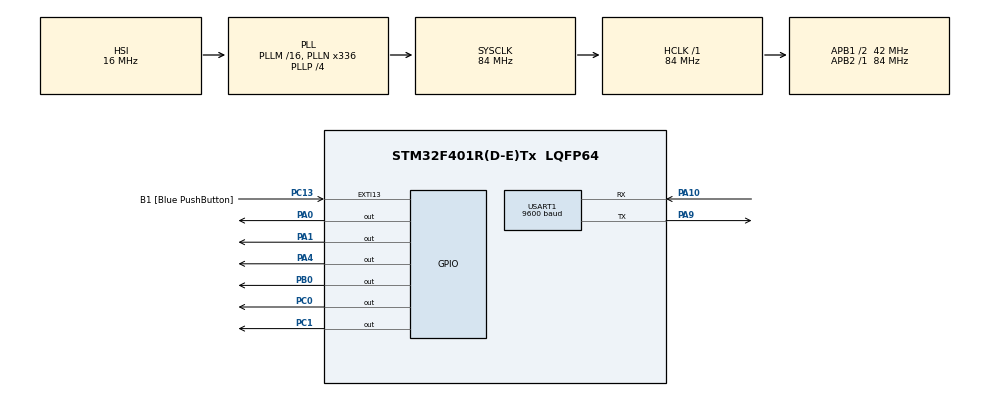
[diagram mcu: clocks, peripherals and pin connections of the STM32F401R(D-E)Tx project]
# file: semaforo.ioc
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Mcu.Family=STM32F4
Mcu.Name=STM32F401R(D-E)Tx
Mcu.Package=LQFP64
NVIC.EXTI15_10_IRQn=true\:0\:1\:false\:false\:true\:true\:true\:true
NVIC.PriorityGroup=NVIC_PRIORITYGROUP_0
NVIC.TIM1_TRG_COM_TIM11_IRQn=true\:0\:1\:false\:false\:true\:true\:true\:true
NVIC.TIM1_UP_TIM10_IRQn=true\:0\:1\:false\:false\:true\:true\:true\:true
NVIC.USART1_IRQn=true\:0\:0\:false\:false\:true\:true\:true\:true
PA0-WKUP.Signal=GPIO_Output
PA1.Signal=GPIO_Output
PA10.Mode=Asynchronous
PA10.Signal=USART1_RX
PA13.GPIO_Label=TMS
PA13.Mode=Serial_Wire
PA13.Signal=SYS_JTMS-SWDIO
PA14.GPIO_Label=TCK
PA14.Mode=Serial_Wire
PA14.Signal=SYS_JTCK-SWCLK
PA4.Signal=GPIO_Output
PA9.Mode=Asynchronous
PA9.Signal=USART1_TX
PB0.Signal=GPIO_Output
PB3.GPIO_Label=SWO
PB3.Signal=SYS_JTDO-SWO
PC0.Signal=GPIO_Output
PC1.Signal=GPIO_Output
PC13-ANTI_TAMP.GPIO_Label=B1 [Blue PushButton]
PC13-ANTI_TAMP.GPIO_ModeDefaultEXTI=GPIO_MODE_IT_FALLING
PC13-ANTI_TAMP.GPIO_PuPd=GPIO_NOPULL
PC13-ANTI_TAMP.Signal=GPXTI13
PC14-OSC32_IN.Mode=LSE-External-Oscillator
PC14-OSC32_IN.Signal=RCC_OSC32_IN
PC15-OSC32_OUT.Mode=LSE-External-Oscillator
PC15-OSC32_OUT.Signal=RCC_OSC32_OUT
PH0\ -\ OSC_IN.Mode=HSE-External-Clock-Source
PH0\ -\ OSC_IN.Signal=RCC_OSC_IN
PH1\ -\ OSC_OUT.Mode=HSE-External-Clock-Source
PH1\ -\ OSC_OUT.Signal=RCC_OSC_OUT
ProjectManager.HeapSize=0x200
ProjectManager.StackSize=0x400
ProjectManager.TargetToolchain=STM32CubeIDE
RCC.48MHZClocksFreq_Value=48000000
RCC.AHBFreq_Value=84000000
RCC.APB1CLKDivider=RCC_HCLK_DIV2
RCC.APB1Freq_Value=42000000
RCC.APB1TimFreq_Value=84000000
RCC.APB2Freq_Value=84000000
RCC.APB2TimFreq_Value=84000000
RCC.CortexFreq_Value=84000000
RCC.HCLKFreq_Value=84000000
RCC.HSE_VALUE=8000000
RCC.HSI_VALUE=16000000
RCC.PLLN=336
RCC.PLLP=RCC_PLLP_DIV4
RCC.PLLQ=7
RCC.SYSCLKFreq_VALUE=84000000
RCC.SYSCLKSource=RCC_SYSCLKSOURCE_PLLCLK
RCC.VCOOutputFreq_Value=336000000
TIM10.Period=42000
TIM10.Prescaler=19999
TIM11.Period=42000
TIM11.Prescaler=999
USART1.BaudRate=9600
USART1.Parity=PARITY_EVEN
USART1.VirtualMode=VM_ASYNC
USART1.WordLength=WORDLENGTH_9B
VP_TIM10_VS_ClockSourceINT.Mode=Enable_Timer
VP_TIM11_VS_ClockSourceINT.Mode=Enable_Timer
board=NUCLEO-F401RE

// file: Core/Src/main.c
/* USER CODE BEGIN Header */
/**
  ******************************************************************************
  * @file           : main.c
  * @brief          : Main program body
  ******************************************************************************
  * @attention
  *
  * Copyright (c) 2023 STMicroelectronics.
  * All rights reserved.
  *
  * This software is licensed under terms that can be found in the LICENSE file
  * in the root directory of this software component.
  * If no LICENSE file comes with this software, it is provided AS-IS.
  *
  ******************************************************************************
  */
/* USER CODE END Header */
#include "main.h"

 TIM_HandleTypeDef htim10;
TIM_HandleTypeDef htim11;

UART_HandleTypeDef huart1;

/* USER CODE BEGIN PV */
int prima_interrupt = 1; // variabile usata per indicare se siamo alla prima interruzione del timer watchdog

char richiesta = 'P'; // 'P' indica "prenotazione"

char controllo; // messaggio inviato dal giudice che indica i led da accendere
/* MESSAGGI DI CONTROLLO:
 * dritto_verde, svolta_verde, pedone_rosso: "A"
 * dritto_giallo, svolta_giallo, pedone_rosso: "B"
 * dritto_rosso, svolta_rosso, pedone_rosso: "C"
 * dritto_rosso, svolta_rosso, pedone_verde: "D"
 * dritto_rosso, svolta_rosso, pedone_giallo: "E"
 * dritto_verde, svolta_rosso, pedone_rosso: "F"
 * dritto_giallo, svolta_rosso, pedone_rosso: "G"
 */

/* USER CODE END PV */

void SystemClock_Config(void);
static void MX_GPIO_Init(void);
static void MX_TIM10_Init(void);
static void MX_TIM11_Init(void);
static void MX_USART1_UART_Init(void);

/* USER CODE BEGIN 0 */
void HAL_TIM_PeriodElapsedCallback(TIM_HandleTypeDef *htim)
{
  /* Prevent unused argument(s) compilation warning */
  UNUSED(htim);

  if(prima_interrupt){
	  prima_interrupt = 0;
  }
  else if (htim == &htim10){
	  HAL_TIM_Base_Stop_IT(htim); // arresto timer watchdog

	  // Spegnimento del led giallo del semaforo dritto
	  HAL_GPIO_WritePin(GPIOA, GPIO_PIN_0, GPIO_PIN_RESET);
	  HAL_GPIO_WritePin(GPIOA, GPIO_PIN_1, GPIO_PIN_RESET);

	  // Spegnimento del led giallo del semaforo svolta
	  HAL_GPIO_WritePin(GPIOA, GPIO_PIN_4, GPIO_PIN_RESET);
	  HAL_GPIO_WritePin(GPIOB, GPIO_PIN_0, GPIO_PIN_RESET);

	  // Spegnimento del led giallo del semaforo pedone
	  HAL_GPIO_WritePin(GPIOC, GPIO_PIN_1, GPIO_PIN_RESET);
	  HAL_GPIO_WritePin(GPIOC, GPIO_PIN_0, GPIO_PIN_RESET);

	  HAL_TIM_Base_Start_IT(&htim11); // avvio timer blinking
  }
  else if (htim == &htim11){
	  // Toggle del led giallo del semafaro dritto
	  HAL_GPIO_TogglePin(GPIOA, GPIO_PIN_0);
	  HAL_GPIO_TogglePin(GPIOA, GPIO_PIN_1);

	  // Toggle del led giallo del semafaro svolta
	  HAL_GPIO_TogglePin(GPIOA, GPIO_PIN_4);
	  HAL_GPIO_TogglePin(GPIOB, GPIO_PIN_0);

	  // Toggle del led giallo del semafaro pedone
	  HAL_GPIO_TogglePin(GPIOC, GPIO_PIN_1);
	  HAL_GPIO_TogglePin(GPIOC, GPIO_PIN_0);
  }
}

void HAL_GPIO_EXTI_Callback(uint16_t GPIO_Pin)
{
  /* Prevent unused argument(s) compilation warning */
  UNUSED(GPIO_Pin);

  HAL_UART_Transmit_IT(&huart1, &richiesta, 1); // trasmettiamo la richiesta di prenotazione
}

void HAL_UART_RxCpltCallback(UART_HandleTypeDef *huart)
{
  HAL_TIM_Base_Stop(&htim11); // arresto timer blinking
  HAL_TIM_Base_Stop(&htim10); // arresto temporaneamente il timer watchdog
  htim10.Instance->CNT=0; // azzero il counter del timer watchdog

  // Spegnimento temporaneo di tutti i led
  HAL_GPIO_WritePin(GPIOA, GPIO_PIN_0, GPIO_PIN_RESET);
  HAL_GPIO_WritePin(GPIOA, GPIO_PIN_1, GPIO_PIN_RESET);

  HAL_GPIO_WritePin(GPIOA, GPIO_PIN_4, GPIO_PIN_RESET);
  HAL_GPIO_WritePin(GPIOB, GPIO_PIN_0, GPIO_PIN_RESET);

  HAL_GPIO_WritePin(GPIOC, GPIO_PIN_1, GPIO_PIN_RESET);
  HAL_GPIO_WritePin(GPIOC, GPIO_PIN_0, GPIO_PIN_RESET);

  switch (controllo){
  case 'A':
	  HAL_GPIO_WritePin(GPIOA, GPIO_PIN_0, GPIO_PIN_RESET);
	  HAL_GPIO_WritePin(GPIOA, GPIO_PIN_1, GPIO_PIN_SET);

	  HAL_GPIO_WritePin(GPIOA, GPIO_PIN_4, GPIO_PIN_RESET);
	  HAL_GPIO_WritePin(GPIOB, GPIO_PIN_0, GPIO_PIN_SET);

	  HAL_GPIO_WritePin(GPIOC, GPIO_PIN_1, GPIO_PIN_SET);
	  HAL_GPIO_WritePin(GPIOC, GPIO_PIN_0, GPIO_PIN_RESET);

	  HAL_TIM_Base_Start_IT(&htim10); // avvio timer watchdog
	  break;

  case 'B':
  	  HAL_GPIO_WritePin(GPIOA, GPIO_PIN_0, GPIO_PIN_SET);
  	  HAL_GPIO_WritePin(GPIOA, GPIO_PIN_1, GPIO_PIN_SET);

  	  HAL_GPIO_WritePin(GPIOA, GPIO_PIN_4, GPIO_PIN_SET);
  	  HAL_GPIO_WritePin(GPIOB, GPIO_PIN_0, GPIO_PIN_SET);

  	  HAL_GPIO_WritePin(GPIOC, GPIO_PIN_1, GPIO_PIN_SET);
  	  HAL_GPIO_WritePin(GPIOC, GPIO_PIN_0, GPIO_PIN_RESET);

  	  HAL_TIM_Base_Start_IT(&htim10); // avvio timer watchdog
  	  break;

  case 'C':
  	  HAL_GPIO_WritePin(GPIOA, GPIO_PIN_0, GPIO_PIN_SET);
  	  HAL_GPIO_WritePin(GPIOA, GPIO_PIN_1, GPIO_PIN_RESET);

  	  HAL_GPIO_WritePin(GPIOA, GPIO_PIN_4, GPIO_PIN_SET);
  	  HAL_GPIO_WritePin(GPIOB, GPIO_PIN_0, GPIO_PIN_RESET);

  	  HAL_GPIO_WritePin(GPIOC, GPIO_PIN_1, GPIO_PIN_SET);
  	  HAL_GPIO_WritePin(GPIOC, GPIO_PIN_0, GPIO_PIN_RESET);

  	  HAL_TIM_Base_Start_IT(&htim10); // avvio timer watchdog
  	  break;

  case 'D':
  	  HAL_GPIO_WritePin(GPIOA, GPIO_PIN_0, GPIO_PIN_SET);
  	  HAL_GPIO_WritePin(GPIOA, GPIO_PIN_1, GPIO_PIN_RESET);

  	  HAL_GPIO_WritePin(GPIOA, GPIO_PIN_4, GPIO_PIN_SET);
  	  HAL_GPIO_WritePin(GPIOB, GPIO_PIN_0, GPIO_PIN_RESET);

  	  HAL_GPIO_WritePin(GPIOC, GPIO_PIN_1, GPIO_PIN_RESET);
  	  HAL_GPIO_WritePin(GPIOC, GPIO_PIN_0, GPIO_PIN_SET);

  	  HAL_TIM_Base_Start_IT(&htim10); // avvio timer watchdog
  	  break;

  case 'E':
	  HAL_GPIO_WritePin(GPIOA, GPIO_PIN_0, GPIO_PIN_SET);
	  HAL_GPIO_WritePin(GPIOA, GPIO_PIN_1, GPIO_PIN_RESET);

	  HAL_GPIO_WritePin(GPIOA, GPIO_PIN_4, GPIO_PIN_SET);
	  HAL_GPIO_WritePin(GPIOB, GPIO_PIN_0, GPIO_PIN_RESET);

	  HAL_GPIO_WritePin(GPIOC, GPIO_PIN_1, GPIO_PIN_SET);
	  HAL_GPIO_WritePin(GPIOC, GPIO_PIN_0, GPIO_PIN_SET);

	  HAL_TIM_Base_Start_IT(&htim10); // avvio timer watchdog
	  break;

  case 'F':
	  HAL_GPIO_WritePin(GPIOA, GPIO_PIN_0, GPIO_PIN_RESET);
	  HAL_GPIO_WritePin(GPIOA, GPIO_PIN_1, GPIO_PIN_SET);

	  HAL_GPIO_WritePin(GPIOA, GPIO_PIN_4, GPIO_PIN_SET);
	  HAL_GPIO_WritePin(GPIOB, GPIO_PIN_0, GPIO_PIN_RESET);

	  HAL_GPIO_WritePin(GPIOC, GPIO_PIN_1, GPIO_PIN_SET);
	  HAL_GPIO_WritePin(GPIOC, GPIO_PIN_0, GPIO_PIN_RESET);

	  HAL_TIM_Base_Start_IT(&htim10); // avvio timer watchdog
	  break;

  case 'G':
	  HAL_GPIO_WritePin(GPIOA, GPIO_PIN_0, GPIO_PIN_SET);
	  HAL_GPIO_WritePin(GPIOA, GPIO_PIN_1, GPIO_PIN_SET);

	  HAL_GPIO_WritePin(GPIOA, GPIO_PIN_4, GPIO_PIN_SET);
	  HAL_GPIO_WritePin(GPIOB, GPIO_PIN_0, GPIO_PIN_RESET);

	  HAL_GPIO_WritePin(GPIOC, GPIO_PIN_1, GPIO_PIN_SET);
	  HAL_GPIO_WritePin(GPIOC, GPIO_PIN_0, GPIO_PIN_RESET);

	  HAL_TIM_Base_Start_IT(&htim10); // avvio timer watchdog
	  break;

  default:
	  HAL_TIM_Base_Stop(&htim10); // arresto timer watchdog
	  HAL_TIM_Base_Start_IT(&htim11); // avvio timer blinking
  }

  HAL_UART_Receive_IT(huart, &controllo, 1); // rimettiamo l'UART in ricezione
}

/* USER CODE END 0 */

int main(void)
{

  /* MCU Configuration--------------------------------------------------------*/

  /* Reset of all peripherals, Initializes the Flash interface and the Systick. */
  HAL_Init();

  /* Configure the system clock */
  SystemClock_Config();

  /* Initialize all configured peripherals */
  MX_GPIO_Init();
  MX_TIM10_Init();
  MX_TIM11_Init();
  MX_USART1_UART_Init();
  /* USER CODE BEGIN 2 */
  HAL_TIM_Base_Start_IT(&htim10); // avvio timer watchdog
  HAL_UART_Receive_IT(&huart1, &controllo, 1); // mettiamo l'UART in ricezione
  /* USER CODE END 2 */

  /* Infinite loop */
  while (1)
  {

  }
}

void SystemClock_Config(void)
{
  RCC_OscInitTypeDef RCC_OscInitStruct = {0};
  RCC_ClkInitTypeDef RCC_ClkInitStruct = {0};

  /** Configure the main internal regulator output voltage
  */
  __HAL_RCC_PWR_CLK_ENABLE();
  __HAL_PWR_VOLTAGESCALING_CONFIG(PWR_REGULATOR_VOLTAGE_SCALE2);

  /** Initializes the RCC Oscillators according to the specified parameters
  * in the RCC_OscInitTypeDef structure.
  */
  RCC_OscInitStruct.OscillatorType = RCC_OSCILLATORTYPE_HSI;
  RCC_OscInitStruct.HSIState = RCC_HSI_ON;
  RCC_OscInitStruct.HSICalibrationValue = RCC_HSICALIBRATION_DEFAULT;
  RCC_OscInitStruct.PLL.PLLState = RCC_PLL_ON;
  RCC_OscInitStruct.PLL.PLLSource = RCC_PLLSOURCE_HSI;
  RCC_OscInitStruct.PLL.PLLM = 16;
  RCC_OscInitStruct.PLL.PLLN = 336;
  RCC_OscInitStruct.PLL.PLLP = RCC_PLLP_DIV4;
  RCC_OscInitStruct.PLL.PLLQ = 7;
  if (HAL_RCC_OscConfig(&RCC_OscInitStruct) != HAL_OK)
  {
    Error_Handler();
  }

  /** Initializes the CPU, AHB and APB buses clocks
  */
  RCC_ClkInitStruct.ClockType = RCC_CLOCKTYPE_HCLK|RCC_CLOCKTYPE_SYSCLK
                              |RCC_CLOCKTYPE_PCLK1|RCC_CLOCKTYPE_PCLK2;
  RCC_ClkInitStruct.SYSCLKSource = RCC_SYSCLKSOURCE_PLLCLK;
  RCC_ClkInitStruct.AHBCLKDivider = RCC_SYSCLK_DIV1;
  RCC_ClkInitStruct.APB1CLKDivider = RCC_HCLK_DIV2;
  RCC_ClkInitStruct.APB2CLKDivider = RCC_HCLK_DIV1;

  if (HAL_RCC_ClockConfig(&RCC_ClkInitStruct, FLASH_LATENCY_2) != HAL_OK)
  {
    Error_Handler();
  }
}

static void MX_TIM10_Init(void)
{

  htim10.Instance = TIM10;
  htim10.Init.Prescaler = 19999;
  htim10.Init.CounterMode = TIM_COUNTERMODE_UP;
  htim10.Init.Period = 42000;
  htim10.Init.ClockDivision = TIM_CLOCKDIVISION_DIV1;
  htim10.Init.AutoReloadPreload = TIM_AUTORELOAD_PRELOAD_DISABLE;
  if (HAL_TIM_Base_Init(&htim10) != HAL_OK)
  {
    Error_Handler();
  }

}

static void MX_TIM11_Init(void)
{

  htim11.Instance = TIM11;
  htim11.Init.Prescaler = 999;
  htim11.Init.CounterMode = TIM_COUNTERMODE_UP;
  htim11.Init.Period = 42000;
  htim11.Init.ClockDivision = TIM_CLOCKDIVISION_DIV1;
  htim11.Init.AutoReloadPreload = TIM_AUTORELOAD_PRELOAD_DISABLE;
  if (HAL_TIM_Base_Init(&htim11) != HAL_OK)
  {
    Error_Handler();
  }

}

static void MX_USART1_UART_Init(void)
{

  huart1.Instance = USART1;
  huart1.Init.BaudRate = 9600;
  huart1.Init.WordLength = UART_WORDLENGTH_9B;
  huart1.Init.StopBits = UART_STOPBITS_1;
  huart1.Init.Parity = UART_PARITY_EVEN;
  huart1.Init.Mode = UART_MODE_TX_RX;
  huart1.Init.HwFlowCtl = UART_HWCONTROL_NONE;
  huart1.Init.OverSampling = UART_OVERSAMPLING_16;
  if (HAL_UART_Init(&huart1) != HAL_OK)
  {
    Error_Handler();
  }

}

static void MX_GPIO_Init(void)
{
  GPIO_InitTypeDef GPIO_InitStruct = {0};

  /* GPIO Ports Clock Enable */
  __HAL_RCC_GPIOC_CLK_ENABLE();
  __HAL_RCC_GPIOH_CLK_ENABLE();
  __HAL_RCC_GPIOA_CLK_ENABLE();
  __HAL_RCC_GPIOB_CLK_ENABLE();

  /*Configure GPIO pin Output Level */
  HAL_GPIO_WritePin(GPIOC, GPIO_PIN_0|GPIO_PIN_1, GPIO_PIN_RESET);

  /*Configure GPIO pin Output Level */
  HAL_GPIO_WritePin(GPIOA, GPIO_PIN_0|GPIO_PIN_1|GPIO_PIN_4, GPIO_PIN_RESET);

  /*Configure GPIO pin Output Level */
  HAL_GPIO_WritePin(GPIOB, GPIO_PIN_0, GPIO_PIN_RESET);

  /*Configure GPIO pin : B1_Pin */
  GPIO_InitStruct.Pin = B1_Pin;
  GPIO_InitStruct.Mode = GPIO_MODE_IT_FALLING;
  GPIO_InitStruct.Pull = GPIO_NOPULL;
  HAL_GPIO_Init(B1_GPIO_Port, &GPIO_InitStruct);

  /*Configure GPIO pins : PC0 PC1 */
  GPIO_InitStruct.Pin = GPIO_PIN_0|GPIO_PIN_1;
  GPIO_InitStruct.Mode = GPIO_MODE_OUTPUT_PP;
  GPIO_InitStruct.Pull = GPIO_NOPULL;
  GPIO_InitStruct.Speed = GPIO_SPEED_FREQ_LOW;
  HAL_GPIO_Init(GPIOC, &GPIO_InitStruct);

  /*Configure GPIO pins : PA0 PA1 PA4 */
  GPIO_InitStruct.Pin = GPIO_PIN_0|GPIO_PIN_1|GPIO_PIN_4;
  GPIO_InitStruct.Mode = GPIO_MODE_OUTPUT_PP;
  GPIO_InitStruct.Pull = GPIO_NOPULL;
  GPIO_InitStruct.Speed = GPIO_SPEED_FREQ_LOW;
  HAL_GPIO_Init(GPIOA, &GPIO_InitStruct);

  /*Configure GPIO pin : PB0 */
  GPIO_InitStruct.Pin = GPIO_PIN_0;
  GPIO_InitStruct.Mode = GPIO_MODE_OUTPUT_PP;
  GPIO_InitStruct.Pull = GPIO_NOPULL;
  GPIO_InitStruct.Speed = GPIO_SPEED_FREQ_LOW;
  HAL_GPIO_Init(GPIOB, &GPIO_InitStruct);

  /* EXTI interrupt init*/
  HAL_NVIC_SetPriority(EXTI15_10_IRQn, 0, 1);
  HAL_NVIC_EnableIRQ(EXTI15_10_IRQn);

}

void Error_Handler(void)
{
  __disable_irq();
  while (1)
  {
  }
}
